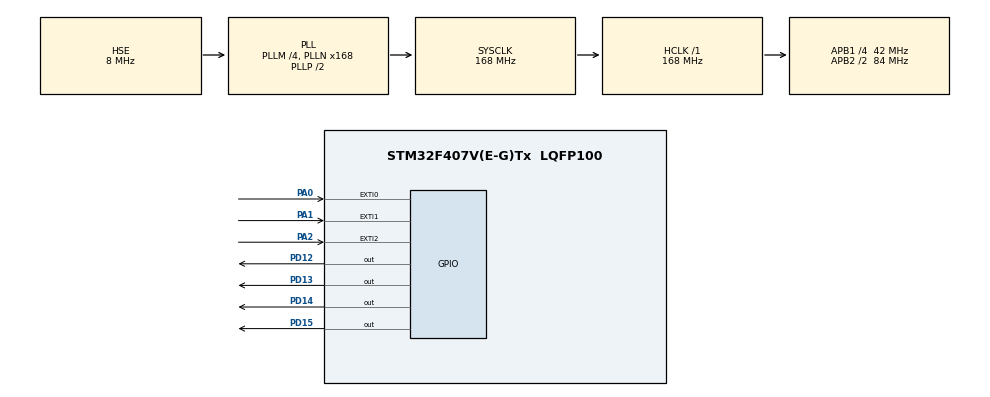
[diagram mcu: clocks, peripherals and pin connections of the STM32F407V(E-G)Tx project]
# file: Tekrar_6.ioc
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Mcu.Family=STM32F4
Mcu.Name=STM32F407V(E-G)Tx
Mcu.Package=LQFP100
NVIC.EXTI0_IRQn=true\:0\:0\:false\:false\:true\:true\:true\:true
NVIC.EXTI1_IRQn=true\:0\:0\:false\:false\:true\:true\:true\:true
NVIC.EXTI2_IRQn=true\:0\:0\:false\:false\:true\:true\:true\:true
NVIC.PriorityGroup=NVIC_PRIORITYGROUP_4
PA0-WKUP.GPIO_PuPd=GPIO_PULLDOWN
PA0-WKUP.Signal=GPXTI0
PA1.GPIO_PuPd=GPIO_PULLDOWN
PA1.Signal=GPXTI1
PA2.GPIO_PuPd=GPIO_PULLDOWN
PA2.Signal=GPXTI2
PD12.GPIO_Speed=GPIO_SPEED_FREQ_VERY_HIGH
PD12.Signal=GPIO_Output
PD13.GPIO_Speed=GPIO_SPEED_FREQ_VERY_HIGH
PD13.Signal=GPIO_Output
PD14.GPIO_Speed=GPIO_SPEED_FREQ_VERY_HIGH
PD14.Signal=GPIO_Output
PD15.GPIO_Speed=GPIO_SPEED_FREQ_VERY_HIGH
PD15.Signal=GPIO_Output
PH0-OSC_IN.Mode=HSE-External-Oscillator
PH0-OSC_IN.Signal=RCC_OSC_IN
PH1-OSC_OUT.Mode=HSE-External-Oscillator
PH1-OSC_OUT.Signal=RCC_OSC_OUT
ProjectManager.HeapSize=0x200
ProjectManager.StackSize=0x400
ProjectManager.TargetToolchain=STM32CubeIDE
RCC.48MHZClocksFreq_Value=84000000
RCC.AHBFreq_Value=168000000
RCC.APB1CLKDivider=RCC_HCLK_DIV4
RCC.APB1Freq_Value=42000000
RCC.APB1TimFreq_Value=84000000
RCC.APB2CLKDivider=RCC_HCLK_DIV2
RCC.APB2Freq_Value=84000000
RCC.APB2TimFreq_Value=168000000
RCC.CortexFreq_Value=168000000
RCC.HCLKFreq_Value=168000000
RCC.HSE_VALUE=8000000
RCC.HSI_VALUE=16000000
RCC.LSE_VALUE=32768
RCC.PLLM=4
RCC.PLLN=168
RCC.PLLSourceVirtual=RCC_PLLSOURCE_HSE
RCC.SYSCLKFreq_VALUE=168000000
RCC.SYSCLKSource=RCC_SYSCLKSOURCE_PLLCLK
RCC.VCOOutputFreq_Value=336000000
board=custom

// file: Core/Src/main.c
/* USER CODE BEGIN Header */
/**
  ******************************************************************************
  * @file           : main.c
  * @brief          : Main program body
  ******************************************************************************
  * @attention
  *
  * Copyright (c) 2023 STMicroelectronics.
  * All rights reserved.
  *
  * This software is licensed under terms that can be found in the LICENSE file
  * in the root directory of this software component.
  * If no LICENSE file comes with this software, it is provided AS-IS.
  *
  ******************************************************************************
  */
/* USER CODE END Header */
#include "main.h"

/* USER CODE BEGIN PV */
int DELAY=0;
int i=0;
/* USER CODE END PV */

void SystemClock_Config(void);
static void MX_GPIO_Init(void);

/* USER CODE BEGIN 0 */
void HAL_GPIO_EXTI_Callback(uint16_t GPIO_Pin)
{
	/*  //3 butondan birine basınca interrupt fonk girer, alttaki işlemleri yapar
	i++;
	if(i==1){
		DELAY=3000;
	}
	else if(i==2)
	{
		DELAY=1000;
	}
	else if(i==3){
		DELAY=100;
		i=0;
	}
	*/

	//her butonda farklı bir sey yapması icin
	if(HAL_GPIO_ReadPin(GPIOA, GPIO_PIN_0))
	{
		i++;
		 if(i==1)
		    {
				DELAY=3000;
			}
		 else if(i==2)
			{
				DELAY=1000;
			}
		 else if(i==3)
		    {
				DELAY=100;
				i=0;
			}
	}
	else if(HAL_GPIO_ReadPin(GPIOA, GPIO_PIN_1))
	{
		DELAY=5000;
	}
	else
	{
		DELAY=100;
	}

}

/* USER CODE END 0 */

int main(void)
{

  /* MCU Configuration--------------------------------------------------------*/

  /* Reset of all peripherals, Initializes the Flash interface and the Systick. */
  HAL_Init();

  /* Configure the system clock */
  SystemClock_Config();

  /* Initialize all configured peripherals */
  MX_GPIO_Init();

  /* Infinite loop */
  while (1)
  {

    /* USER CODE BEGIN 3 */
	  HAL_GPIO_TogglePin(GPIOD, GPIO_PIN_All);
	  HAL_Delay(DELAY);
  }
  /* USER CODE END 3 */
}

void SystemClock_Config(void)
{
  RCC_OscInitTypeDef RCC_OscInitStruct = {0};
  RCC_ClkInitTypeDef RCC_ClkInitStruct = {0};

  /** Configure the main internal regulator output voltage
  */
  __HAL_RCC_PWR_CLK_ENABLE();
  __HAL_PWR_VOLTAGESCALING_CONFIG(PWR_REGULATOR_VOLTAGE_SCALE1);

  /** Initializes the RCC Oscillators according to the specified parameters
  * in the RCC_OscInitTypeDef structure.
  */
  RCC_OscInitStruct.OscillatorType = RCC_OSCILLATORTYPE_HSE;
  RCC_OscInitStruct.HSEState = RCC_HSE_ON;
  RCC_OscInitStruct.PLL.PLLState = RCC_PLL_ON;
  RCC_OscInitStruct.PLL.PLLSource = RCC_PLLSOURCE_HSE;
  RCC_OscInitStruct.PLL.PLLM = 4;
  RCC_OscInitStruct.PLL.PLLN = 168;
  RCC_OscInitStruct.PLL.PLLP = RCC_PLLP_DIV2;
  RCC_OscInitStruct.PLL.PLLQ = 4;
  if (HAL_RCC_OscConfig(&RCC_OscInitStruct) != HAL_OK)
  {
    Error_Handler();
  }

  /** Initializes the CPU, AHB and APB buses clocks
  */
  RCC_ClkInitStruct.ClockType = RCC_CLOCKTYPE_HCLK|RCC_CLOCKTYPE_SYSCLK
                              |RCC_CLOCKTYPE_PCLK1|RCC_CLOCKTYPE_PCLK2;
  RCC_ClkInitStruct.SYSCLKSource = RCC_SYSCLKSOURCE_PLLCLK;
  RCC_ClkInitStruct.AHBCLKDivider = RCC_SYSCLK_DIV1;
  RCC_ClkInitStruct.APB1CLKDivider = RCC_HCLK_DIV4;
  RCC_ClkInitStruct.APB2CLKDivider = RCC_HCLK_DIV2;

  if (HAL_RCC_ClockConfig(&RCC_ClkInitStruct, FLASH_LATENCY_5) != HAL_OK)
  {
    Error_Handler();
  }
}

static void MX_GPIO_Init(void)
{
  GPIO_InitTypeDef GPIO_InitStruct = {0};

  /* GPIO Ports Clock Enable */
  __HAL_RCC_GPIOH_CLK_ENABLE();
  __HAL_RCC_GPIOA_CLK_ENABLE();
  __HAL_RCC_GPIOD_CLK_ENABLE();

  /*Configure GPIO pin Output Level */
  HAL_GPIO_WritePin(GPIOD, GPIO_PIN_12|GPIO_PIN_13|GPIO_PIN_14|GPIO_PIN_15, GPIO_PIN_RESET);

  /*Configure GPIO pins : PA0 PA1 PA2 */
  GPIO_InitStruct.Pin = GPIO_PIN_0|GPIO_PIN_1|GPIO_PIN_2;
  GPIO_InitStruct.Mode = GPIO_MODE_IT_RISING;
  GPIO_InitStruct.Pull = GPIO_PULLDOWN;
  HAL_GPIO_Init(GPIOA, &GPIO_InitStruct);

  /*Configure GPIO pins : PD12 PD13 PD14 PD15 */
  GPIO_InitStruct.Pin = GPIO_PIN_12|GPIO_PIN_13|GPIO_PIN_14|GPIO_PIN_15;
  GPIO_InitStruct.Mode = GPIO_MODE_OUTPUT_PP;
  GPIO_InitStruct.Pull = GPIO_NOPULL;
  GPIO_InitStruct.Speed = GPIO_SPEED_FREQ_VERY_HIGH;
  HAL_GPIO_Init(GPIOD, &GPIO_InitStruct);

  /* EXTI interrupt init*/
  HAL_NVIC_SetPriority(EXTI0_IRQn, 0, 0);
  HAL_NVIC_EnableIRQ(EXTI0_IRQn);

  HAL_NVIC_SetPriority(EXTI1_IRQn, 0, 2);
  HAL_NVIC_EnableIRQ(EXTI1_IRQn);

  HAL_NVIC_SetPriority(EXTI2_IRQn, 0, 1);
  HAL_NVIC_EnableIRQ(EXTI2_IRQn);

}

void Error_Handler(void)
{
  __disable_irq();
  while (1)
  {
  }
}
